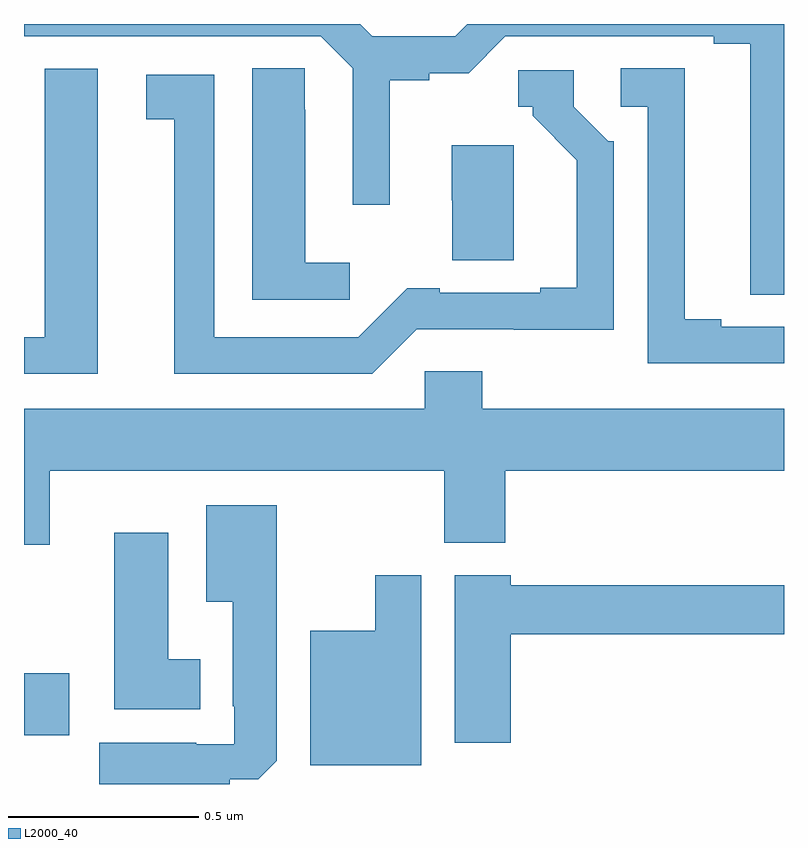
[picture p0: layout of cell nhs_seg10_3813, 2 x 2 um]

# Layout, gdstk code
import gdstk
lib = gdstk.Library(unit=1e-6, precision=1e-09)
def R(c, l, rs):  # rectangles x0, y0, x1, y1
    for r in rs: c.add(gdstk.rectangle(r[:2], r[2:], *l))
def P(c, l, *ps):  # polygons
    for p in ps: c.add(gdstk.Polygon(p, *l))
L2000_40 = (2000, 40)

nhs_seg10_3813 = lib.new_cell('nhs_seg10_3813')
R(nhs_seg10_3813, L2000_40, [(158,1291.628,158.119,1291.791)])
P(nhs_seg10_3813, L2000_40, [(160,1293.5),(159.167,1293.5),(159.135,1293.468),(158.917,1293.468),(158.885,1293.5),(158,1293.5),(158,1293.468),(158.781,1293.468),(158.865,1293.384),(158.865,1293.024),(158.962,1293.024),(158.962,1293.352),(159.066,1293.352),(159.066,1293.371),(159.17,1293.371),(159.267,1293.468),(159.815,1293.468),(159.815,1293.448),(159.911,1293.448),(159.911,1292.788),(160,1292.788)],
  [(158.857,1292.872),(158.74,1292.872),(158.74,1293.275),(158.739,1293.275),(158.739,1293.383),(158.6,1293.383),(158.6,1292.775),(158.857,1292.775)],
  [(160,1292.703),(159.835,1292.703),(159.835,1292.723),(159.739,1292.723),(159.739,1293.383),(159.57,1293.383),(159.57,1293.282),(159.642,1293.282),(159.642,1292.607),(160,1292.607)],
  [(158.194,1293.382),(158.054,1293.382),(158.054,1292.676),(158,1292.676),(158,1292.58),(158.194,1292.58)],
  [(159.033,1292.697),(159.289,1292.697),(159.289,1292.696),(159.552,1292.696),(159.552,1293.192),(159.537,1293.192),(159.447,1293.282),(159.447,1293.378),(159.3,1293.378),(159.3,1293.282),(159.339,1293.282),(159.339,1293.259),(159.455,1293.142),(159.455,1292.806),(159.359,1292.806),(159.359,1292.793),(159.094,1292.793),(159.094,1292.804),(159.008,1292.804),(158.88,1292.676),(158.5,1292.676),(158.5,1293.366),(158.322,1293.366),(158.322,1293.25),(158.396,1293.25),(158.396,1292.58),(158.916,1292.58)],
  [(159.289,1293.181),(159.125,1293.181),(159.125,1293.036),(159.127,1293.036),(159.127,1292.878),(159.289,1292.878)],
  [(158.068,1292.324),(159.106,1292.324),(159.106,1292.135),(159.266,1292.135),(159.266,1292.324),(160,1292.324),(160,1292.488),(159.206,1292.488),(159.206,1292.586),(159.054,1292.586),(159.054,1292.488),(158,1292.488),(158,1292.13),(158.068,1292.13)],
  [(158.542,1291.512),(158.616,1291.512),(158.665,1291.561),(158.665,1292.233),(158.48,1292.233),(158.48,1291.979),(158.549,1291.979),(158.549,1291.705),(158.553,1291.705),(158.553,1291.605),(158.453,1291.605),(158.453,1291.609),(158.198,1291.609),(158.198,1291.5),(158.542,1291.5)],
  [(158.464,1291.828),(158.38,1291.828),(158.38,1292.161),(158.237,1292.161),(158.237,1291.697),(158.464,1291.697)],
  [(159.046,1292.05),(158.924,1292.05),(158.924,1291.903),(158.753,1291.903),(158.753,1291.55),(159.046,1291.55)],
  [(159.281,1291.894),(160,1291.894),(160,1292.023),(159.281,1292.023),(159.281,1292.05),(159.134,1292.05),(159.134,1291.608),(159.281,1291.608)])

lib.write_gds('nhs_seg10_3813.gds')
